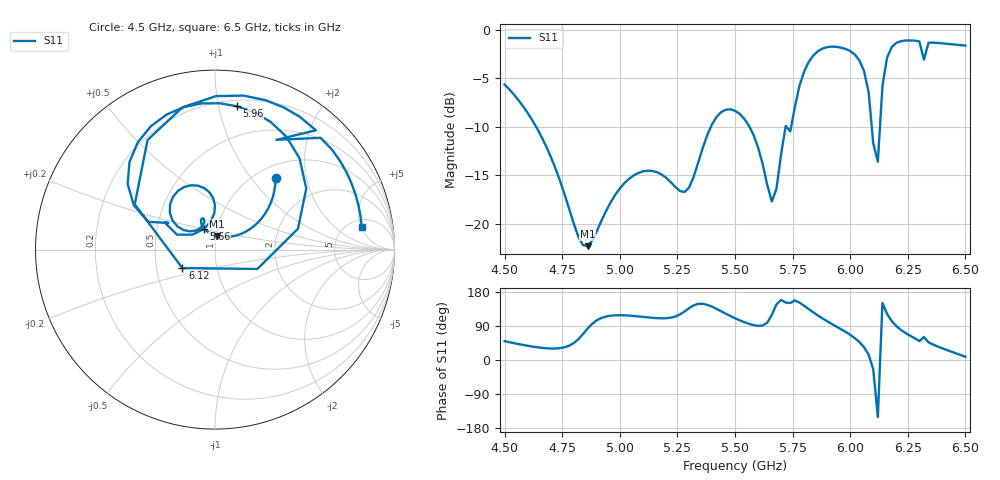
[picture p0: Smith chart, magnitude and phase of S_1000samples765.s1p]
! TOUCHSTONE file generated by CST MICROWAVE STUDIO
! Date and time: Sat Oct 29 07:36:45 2022
! Project name: L.cst
! Parameters = {Di=1.27; Epsilon_r=1.56; InnerDiameter=1.27; Length=2; Lf=10; Lg=60; OuterConductorThickness=0.2921; OuterDiameter=3.6; Wf=3; Wp=41.2; de=1.5; df=6.8; g=0.8; gx=2.20905; gy=2.13341; h=2.34; hf=1.524; px=14.4962; py=9.77469; w=9.7; wx=12.2871; wy=7.64128}
! Header version: 2018
! Port assignment regex: !\s*Touchstone port\s*([0-9]+)\s*=\s*(CST MWS port|CST DS port)\s*([0-9]+|Zmin|Zmax)\s*\(\"(.*)\"\)(\s*mode\s*([0-9]+))?.*
! Touchstone port assignment:
! Touchstone port 1 = CST MWS port 1 ("")
# GHz S DB R 50
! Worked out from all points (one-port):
!   101 points, 4.5 GHz to 6.5 GHz, reference 50 ohm
!   lowest |S11| = -22.3 dB at 4.86 GHz (marker M1), VSWR 1.17, Z = 50.4 + j7.7 ohm
!   |S11| at or under -10 dB: 4.637 GHz to 5.396 GHz (759.1 MHz wide, 15.1 % of centre); 5.563 GHz to 5.719 GHz (156.9 MHz wide, 2.78 % of centre); 6.093 GHz to 6.129 GHz (35.73 MHz wide, 0.585 % of centre) (the widest 3 of 4)
!   S11 on the Smith chart (normalised r, x): 4.5 GHz: 1.22, +1.33; 5.66 GHz: 0.86, +0.20; 5.96 GHz: 0.25, +1.13; 6.12 GHz: 0.68, -0.15; 6.5 GHz: 6.51, +5.12
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4.5  -5.66 49.6
4.76  -16.95 33.5
4.86  -22.31 82.8
5  -16.37 118.2
5.12  -14.53 112.5
5.26  -16.61 119.8
5.4  -9.77 140.7
5.5  -8.35 110.2
5.58  -10.83 92.1
5.66  -17.71 119.3
5.72  -9.92 151.7
5.76  -7.94 157.3
5.84  -2.66 125.7
5.9  -1.80 102.3
5.96  -1.85 81.4
6  -2.20 66.5
6.04  -3.18 47.3
6.08  -6.44 14.1
6.1  -11.72 -24.5
6.12  -13.60 -150.5
6.14  -5.80 150.6
6.18  -1.80 102.8
6.26  -1.11 64.2
6.3  -1.20 49.8
6.32  -3.09 60.8
6.34  -1.35 46.7
6.36  -1.34 40.6
6.5  -1.64 8.6
